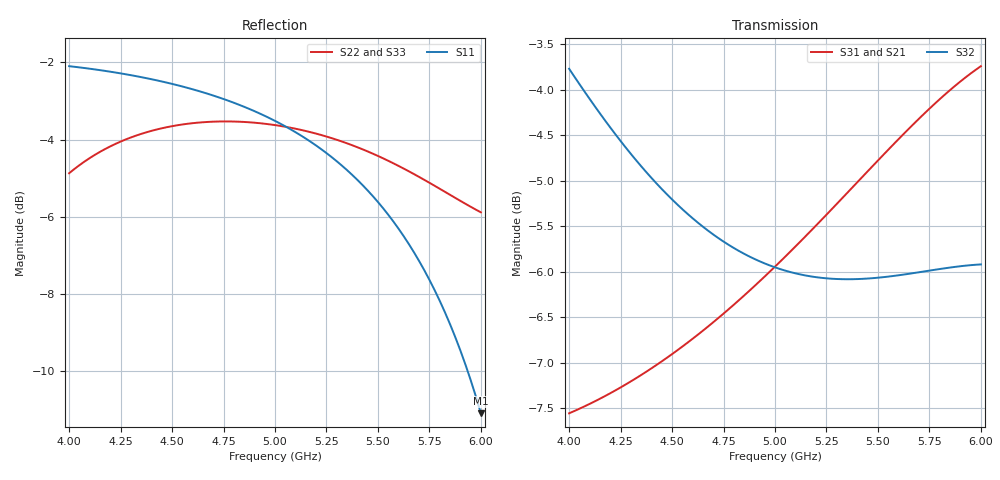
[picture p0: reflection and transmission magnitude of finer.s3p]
! yapnr rf: divider-osh-m-robust, footprint re-simulated (refine 3)
! spec sha256 77fdf852d0d26631bb656d9616c4182d62ef43e9964dceb588096e13d75818f1
! 3 ports renormalized to 50 ohm, e^(+jwt) convention
# GHz S RI R 50
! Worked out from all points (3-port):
!   81 points, 4 GHz to 6 GHz, reference 50 ohm
!   strongest paths, dB at 4 GHz, 4.5 GHz, 5 GHz, 5.5 GHz, 6 GHz:
!     S32: -3.8, -5.2, -6.0, -6.1, -5.9
!     S31: -7.6, -6.9, -5.9, -4.8, -3.7
!     S21: -7.6, -6.9, -5.9, -4.8, -3.7
!   lowest |S11| = -11.1 dB at 6 GHz (marker M1), VSWR 1.77, Z = 33.6 + j17.3 ohm
!   |S11| at or under -10 dB: 5.936 GHz to end of sweep
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4  -0.7492 0.2365  -0.179 -0.3794  -0.179 -0.3794
   -0.1789 -0.3789  -0.5259 -0.2218  -0.1343 0.6339
   -0.1789 -0.3789  -0.1343 0.6339  -0.5259 -0.2218
4.225  -0.7198 0.2759  -0.2178 -0.3729  -0.2178 -0.3729
       -0.2177 -0.3724  -0.6106 -0.1233  0.0111 0.5963
       -0.2177 -0.3724  0.0111 0.5963  -0.6106 -0.1233
4.45  -0.6819 0.3135  -0.261 -0.3643  -0.261 -0.3643
      -0.2607 -0.3637  -0.6525 -0.0179  0.1254 0.5422
      -0.2607 -0.3637  0.1254 0.5422  -0.6525 -0.0179
4.7  -0.6282 0.3512  -0.3152 -0.3499  -0.3152 -0.3499
     -0.3148 -0.3492  -0.6593 0.0925  0.2269 0.4739
     -0.3148 -0.3492  0.2269 0.4739  -0.6593 0.0925
5  -0.5445 0.3857  -0.3903 -0.3209  -0.3903 -0.3209
   -0.3897 -0.3203  -0.6268 0.2033  0.3262 0.3842
   -0.3897 -0.3203  0.3262 0.3842  -0.6268 0.2033
5.3  -0.4377 0.3979  -0.4759 -0.2701  -0.4759 -0.2701
     -0.475 -0.2694  -0.5646 0.2811  0.409 0.2817
     -0.475 -0.2694  0.409 0.2817  -0.5646 0.2811
5.6  -0.3113 0.3703  -0.5647 -0.1841  -0.5647 -0.1841
     -0.5636 -0.1836  -0.4895 0.3174  0.4734 0.1577
     -0.5636 -0.1836  0.4734 0.1577  -0.4895 0.3174
5.825  -0.2138 0.3107  -0.6222 -0.089  -0.6222 -0.089
       -0.6208 -0.0886  -0.4386 0.3151  0.5012 0.0469
       -0.6208 -0.0886  0.5012 0.0469  -0.4386 0.3151
5.925  -0.174 0.2715  -0.6412 -0.0377  -0.6412 -0.0377
       -0.6397 -0.0375  -0.4212 0.3067  0.505 -0.00682
       -0.6397 -0.0375  0.505 -0.00682  -0.4212 0.3067
6  -0.1472 0.2368  -0.6516 0.00397  -0.6516 0.00397
   -0.6501 0.00416  -0.4113 0.2981  0.5035 -0.0483
   -0.6501 0.00416  0.5035 -0.0483  -0.4113 0.2981
